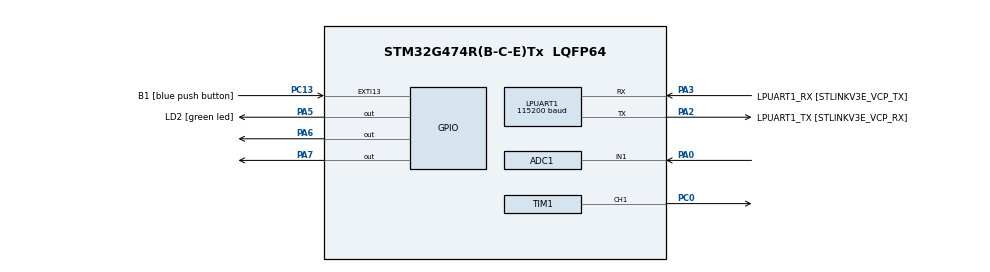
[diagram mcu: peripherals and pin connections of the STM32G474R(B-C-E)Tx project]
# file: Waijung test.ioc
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ADC1.Channel-0\#ChannelRegularConversion=ADC_CHANNEL_1
ADC1.ContinuousConvMode=ENABLE
ADC1.DMAContinuousRequests=ENABLE
ADC1.NbrOfConversionFlag=1
ADC1.OffsetNumber-0\#ChannelRegularConversion=ADC_OFFSET_NONE
ADC1.Rank-0\#ChannelRegularConversion=1
ADC1.SamplingTime-0\#ChannelRegularConversion=ADC_SAMPLETIME_640CYCLES_5
ADC1.master=1
Dma.ADC1.2.Direction=DMA_PERIPH_TO_MEMORY
Dma.ADC1.2.EventEnable=DISABLE
Dma.ADC1.2.Instance=DMA1_Channel3
Dma.ADC1.2.MemDataAlignment=DMA_MDATAALIGN_HALFWORD
Dma.ADC1.2.MemInc=DMA_MINC_ENABLE
Dma.ADC1.2.Mode=DMA_CIRCULAR
Dma.ADC1.2.PeriphDataAlignment=DMA_PDATAALIGN_HALFWORD
Dma.ADC1.2.PeriphInc=DMA_PINC_DISABLE
Dma.ADC1.2.Polarity=HAL_DMAMUX_REQ_GEN_RISING
Dma.ADC1.2.Priority=DMA_PRIORITY_LOW
Dma.ADC1.2.RequestNumber=1
Dma.ADC1.2.SignalID=NONE
Dma.ADC1.2.SyncEnable=DISABLE
Dma.ADC1.2.SyncPolarity=HAL_DMAMUX_SYNC_NO_EVENT
Dma.ADC1.2.SyncRequestNumber=1
Dma.ADC1.2.SyncSignalID=NONE
Dma.LPUART1_RX.1.Direction=DMA_PERIPH_TO_MEMORY
Dma.LPUART1_RX.1.EventEnable=DISABLE
Dma.LPUART1_RX.1.Instance=DMA1_Channel2
Dma.LPUART1_RX.1.MemDataAlignment=DMA_MDATAALIGN_BYTE
Dma.LPUART1_RX.1.MemInc=DMA_MINC_ENABLE
Dma.LPUART1_RX.1.Mode=DMA_CIRCULAR
Dma.LPUART1_RX.1.PeriphDataAlignment=DMA_PDATAALIGN_BYTE
Dma.LPUART1_RX.1.PeriphInc=DMA_PINC_DISABLE
Dma.LPUART1_RX.1.Polarity=HAL_DMAMUX_REQ_GEN_RISING
Dma.LPUART1_RX.1.Priority=DMA_PRIORITY_LOW
Dma.LPUART1_RX.1.RequestNumber=1
Dma.LPUART1_RX.1.SignalID=NONE
Dma.LPUART1_RX.1.SyncEnable=DISABLE
Dma.LPUART1_RX.1.SyncPolarity=HAL_DMAMUX_SYNC_NO_EVENT
Dma.LPUART1_RX.1.SyncRequestNumber=1
Dma.LPUART1_RX.1.SyncSignalID=NONE
Dma.LPUART1_TX.0.Direction=DMA_MEMORY_TO_PERIPH
Dma.LPUART1_TX.0.EventEnable=DISABLE
Dma.LPUART1_TX.0.Instance=DMA1_Channel1
Dma.LPUART1_TX.0.MemDataAlignment=DMA_MDATAALIGN_BYTE
Dma.LPUART1_TX.0.MemInc=DMA_MINC_ENABLE
Dma.LPUART1_TX.0.Mode=DMA_NORMAL
Dma.LPUART1_TX.0.PeriphDataAlignment=DMA_PDATAALIGN_BYTE
Dma.LPUART1_TX.0.PeriphInc=DMA_PINC_DISABLE
Dma.LPUART1_TX.0.Polarity=HAL_DMAMUX_REQ_GEN_RISING
Dma.LPUART1_TX.0.Priority=DMA_PRIORITY_LOW
Dma.LPUART1_TX.0.RequestNumber=1
Dma.LPUART1_TX.0.SignalID=NONE
Dma.LPUART1_TX.0.SyncEnable=DISABLE
Dma.LPUART1_TX.0.SyncPolarity=HAL_DMAMUX_SYNC_NO_EVENT
Dma.LPUART1_TX.0.SyncRequestNumber=1
Dma.LPUART1_TX.0.SyncSignalID=NONE
Dma.Request0=LPUART1_TX
Dma.Request1=LPUART1_RX
Dma.Request2=ADC1
LPUART1.BaudRate=115200
LPUART1.WordLength=UART_WORDLENGTH_8B
Mcu.Family=STM32G4
Mcu.Name=STM32G474R(B-C-E)Tx
Mcu.Package=LQFP64
NVIC.DMA1_Channel1_IRQn=true\:0\:0\:false\:false\:true\:false\:true\:true
NVIC.DMA1_Channel2_IRQn=true\:0\:0\:false\:false\:true\:false\:true\:true
NVIC.DMA1_Channel3_IRQn=true\:0\:0\:false\:false\:true\:false\:true\:true
NVIC.EXTI15_10_IRQn=true\:0\:0\:false\:false\:true\:true\:true\:true
NVIC.LPUART1_IRQn=true\:0\:0\:false\:false\:true\:true\:true\:true
NVIC.PriorityGroup=NVIC_PRIORITYGROUP_4
NVIC.TIM5_IRQn=true\:0\:0\:false\:false\:true\:true\:true\:true
PA0.Mode=IN1-Single-Ended
PA0.Signal=ADC1_IN1
PA13.GPIO_Label=T_SWDIO
PA13.Mode=Serial_Wire
PA13.Signal=SYS_JTMS-SWDIO
PA14.GPIO_Label=T_SWCLK
PA14.Mode=Serial_Wire
PA14.Signal=SYS_JTCK-SWCLK
PA2.GPIO_Label=LPUART1_TX [STLINKV3E_VCP_RX]
PA2.Mode=Asynchronous
PA2.Signal=LPUART1_TX
PA3.GPIO_Label=LPUART1_RX [STLINKV3E_VCP_TX]
PA3.Mode=Asynchronous
PA3.Signal=LPUART1_RX
PA5.GPIO_Label=LD2 [green led]
PA5.Signal=GPIO_Output
PA6.Signal=GPIO_Output
PA7.Signal=GPIO_Output
PB3.GPIO_Label=T_SWO
PB3.Signal=SYS_JTDO-SWO
PC0.Signal=S_TIM1_CH1
PC13.GPIO_Label=B1 [blue push button]
PC13.Signal=GPXTI13
PC14-OSC32_IN.Mode=LSE-External-Oscillator
PC14-OSC32_IN.Signal=RCC_OSC32_IN
PC15-OSC32_OUT.Mode=LSE-External-Oscillator
PC15-OSC32_OUT.Signal=RCC_OSC32_OUT
PF0-OSC_IN.Mode=HSE-External-Oscillator
PF0-OSC_IN.Signal=RCC_OSC_IN
PF1-OSC_OUT.Mode=HSE-External-Oscillator
PF1-OSC_OUT.Signal=RCC_OSC_OUT
ProjectManager.HeapSize=0x200
ProjectManager.StackSize=0x400
ProjectManager.TargetToolchain=STM32CubeIDE
RCC.ADC12Freq_Value=170000000
RCC.ADC345Freq_Value=170000000
RCC.AHBFreq_Value=170000000
RCC.APB1Freq_Value=170000000
RCC.APB1TimFreq_Value=170000000
RCC.APB2Freq_Value=170000000
RCC.APB2TimFreq_Value=170000000
RCC.CortexFreq_Value=170000000
RCC.EXTERNAL_CLOCK_VALUE=12288000
RCC.HCLKFreq_Value=170000000
RCC.HSE_VALUE=24000000
RCC.HSI48_VALUE=48000000
RCC.HSI_VALUE=16000000
RCC.PLLM=RCC_PLLM_DIV4
RCC.PLLN=85
RCC.RTCClockSelection=RCC_RTCCLKSOURCE_LSE
RCC.SYSCLKFreq_VALUE=170000000
RCC.SYSCLKSource=RCC_SYSCLKSOURCE_PLLCLK
RCC.USBFreq_Value=170000000
RCC.VCOOutputFreq_Value=340000000
SH.S_TIM1_CH1.0=TIM1_CH1,PWM Generation1 CH1
TIM1.Channel-PWM\ Generation1\ CH1=TIM_CHANNEL_1
TIM1.PeriodNoDither=1000
TIM1.Prescaler=170-1
TIM5.Prescaler=170-1
VP_SYS_VS_DBSignals.Mode=DisableDeadBatterySignals
VP_TIM1_VS_ClockSourceINT.Mode=Internal
VP_TIM3_VS_ClockSourceINT.Mode=Internal
VP_TIM5_VS_ClockSourceINT.Mode=Internal
board=NUCLEO-G474RE

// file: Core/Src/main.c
/* USER CODE BEGIN Header */
/**
 ******************************************************************************
 * @file           : main.c
 * @brief          : Main program body
 ******************************************************************************
 * @attention
 *
 * Copyright (c) 2024 STMicroelectronics.
 * All rights reserved.
 *
 * This software is licensed under terms that can be found in the LICENSE file
 * in the root directory of this software component.
 * If no LICENSE file comes with this software, it is provided AS-IS.
 *
 ******************************************************************************
 */
/* USER CODE END Header */
#include "main.h"

ADC_HandleTypeDef hadc1;
DMA_HandleTypeDef hdma_adc1;

UART_HandleTypeDef hlpuart1;
DMA_HandleTypeDef hdma_lpuart1_tx;
DMA_HandleTypeDef hdma_lpuart1_rx;

TIM_HandleTypeDef htim1;
TIM_HandleTypeDef htim3;
TIM_HandleTypeDef htim5;

/* USER CODE BEGIN PV */
uint16_t ADCRead[2] = { 0 };
uint8_t Rx[4] = { 0 };
uint8_t Tx[4] = { 0 };
uint8_t Header = 0x69;
uint8_t Termi = 0x0A;
uint8_t k = 0x01;
uint32_t c = 0;
uint64_t upper = 0;
uint64_t _micros = 0;
uint8_t LSB, MSB;
int16_t ReadRX = 0;
int16_t pwmout = 0;
/* USER CODE END PV */

void SystemClock_Config(void);
static void MX_GPIO_Init(void);
static void MX_DMA_Init(void);
static void MX_LPUART1_UART_Init(void);
static void MX_TIM3_Init(void);
static void MX_TIM5_Init(void);
static void MX_ADC1_Init(void);
static void MX_TIM1_Init(void);
/* USER CODE BEGIN PFP */
uint64_t Micros();

/* USER CODE END PFP */

int main(void) {

	/* MCU Configuration--------------------------------------------------------*/

	/* Reset of all peripherals, Initializes the Flash interface and the Systick. */
	HAL_Init();

	/* Configure the system clock */
	SystemClock_Config();

	/* Initialize all configured peripherals */
	MX_GPIO_Init();
	MX_DMA_Init();
	MX_LPUART1_UART_Init();
	MX_TIM3_Init();
	MX_TIM5_Init();
	MX_ADC1_Init();
	MX_TIM1_Init();
	/* USER CODE BEGIN 2 */
	HAL_TIM_Base_Start(&htim1);
	HAL_TIM_PWM_Start(&htim1, TIM_CHANNEL_1);

	HAL_ADCEx_Calibration_Start(&hadc1, ADC_SINGLE_ENDED);
	HAL_ADC_Start_DMA(&hadc1, ADCRead, 2);

	HAL_UART_Receive_DMA(&hlpuart1, Rx, 4);
	HAL_TIM_Base_Start_IT(&htim5);

	upper = 0;

	/* USER CODE END 2 */

	/* Infinite loop */
	while (1) {

		/* USER CODE BEGIN 3 */
		static uint64_t timestamp = 0;
		int64_t currentTime = Micros();
		if (currentTime > timestamp) {
			timestamp = currentTime + 5000; //us
			LSB = ADCRead[0] & 0x00FF;
			MSB = ADCRead[0] >> 8;
			Tx[0] = Header;
			Tx[1] = LSB;
			Tx[2] = MSB;
			Tx[3] = Termi;

			HAL_UART_Transmit_DMA(&hlpuart1, Tx, 4);

			ReadRX = (Rx[2] << 8) | Rx[1];
			pwmout = abs(ReadRX) * 1000 / 4095;
		__HAL_TIM_SET_COMPARE(&htim1,TIM_CHANNEL_1,pwmout);
		if(ReadRX > 0) {
			HAL_GPIO_WritePin(GPIOA, GPIO_PIN_6, GPIO_PIN_SET);
			HAL_GPIO_WritePin(GPIOA, GPIO_PIN_7, GPIO_PIN_RESET);
		} else {
			HAL_GPIO_WritePin(GPIOA, GPIO_PIN_6, GPIO_PIN_RESET);
			HAL_GPIO_WritePin(GPIOA, GPIO_PIN_7, GPIO_PIN_SET);
		}

	}

}
/* USER CODE END 3 */
}

void SystemClock_Config(void) {
RCC_OscInitTypeDef RCC_OscInitStruct = { 0 };
RCC_ClkInitTypeDef RCC_ClkInitStruct = { 0 };

/** Configure the main internal regulator output voltage
 */
HAL_PWREx_ControlVoltageScaling(PWR_REGULATOR_VOLTAGE_SCALE1_BOOST);

/** Initializes the RCC Oscillators according to the specified parameters
 * in the RCC_OscInitTypeDef structure.
 */
RCC_OscInitStruct.OscillatorType = RCC_OSCILLATORTYPE_HSI;
RCC_OscInitStruct.HSIState = RCC_HSI_ON;
RCC_OscInitStruct.HSICalibrationValue = RCC_HSICALIBRATION_DEFAULT;
RCC_OscInitStruct.PLL.PLLState = RCC_PLL_ON;
RCC_OscInitStruct.PLL.PLLSource = RCC_PLLSOURCE_HSI;
RCC_OscInitStruct.PLL.PLLM = RCC_PLLM_DIV4;
RCC_OscInitStruct.PLL.PLLN = 85;
RCC_OscInitStruct.PLL.PLLP = RCC_PLLP_DIV2;
RCC_OscInitStruct.PLL.PLLQ = RCC_PLLQ_DIV2;
RCC_OscInitStruct.PLL.PLLR = RCC_PLLR_DIV2;
if (HAL_RCC_OscConfig(&RCC_OscInitStruct) != HAL_OK) {
	Error_Handler();
}

/** Initializes the CPU, AHB and APB buses clocks
 */
RCC_ClkInitStruct.ClockType = RCC_CLOCKTYPE_HCLK | RCC_CLOCKTYPE_SYSCLK
		| RCC_CLOCKTYPE_PCLK1 | RCC_CLOCKTYPE_PCLK2;
RCC_ClkInitStruct.SYSCLKSource = RCC_SYSCLKSOURCE_PLLCLK;
RCC_ClkInitStruct.AHBCLKDivider = RCC_SYSCLK_DIV1;
RCC_ClkInitStruct.APB1CLKDivider = RCC_HCLK_DIV1;
RCC_ClkInitStruct.APB2CLKDivider = RCC_HCLK_DIV1;

if (HAL_RCC_ClockConfig(&RCC_ClkInitStruct, FLASH_LATENCY_4) != HAL_OK) {
	Error_Handler();
}
}

static void MX_ADC1_Init(void) {

ADC_MultiModeTypeDef multimode = { 0 };
ADC_ChannelConfTypeDef sConfig = { 0 };

/** Common config
 */
hadc1.Instance = ADC1;
hadc1.Init.ClockPrescaler = ADC_CLOCK_SYNC_PCLK_DIV4;
hadc1.Init.Resolution = ADC_RESOLUTION_12B;
hadc1.Init.DataAlign = ADC_DATAALIGN_RIGHT;
hadc1.Init.GainCompensation = 0;
hadc1.Init.ScanConvMode = ADC_SCAN_DISABLE;
hadc1.Init.EOCSelection = ADC_EOC_SINGLE_CONV;
hadc1.Init.LowPowerAutoWait = DISABLE;
hadc1.Init.ContinuousConvMode = ENABLE;
hadc1.Init.NbrOfConversion = 1;
hadc1.Init.DiscontinuousConvMode = DISABLE;
hadc1.Init.ExternalTrigConv = ADC_SOFTWARE_START;
hadc1.Init.ExternalTrigConvEdge = ADC_EXTERNALTRIGCONVEDGE_NONE;
hadc1.Init.DMAContinuousRequests = ENABLE;
hadc1.Init.Overrun = ADC_OVR_DATA_PRESERVED;
hadc1.Init.OversamplingMode = DISABLE;
if (HAL_ADC_Init(&hadc1) != HAL_OK) {
	Error_Handler();
}

/** Configure the ADC multi-mode
 */
multimode.Mode = ADC_MODE_INDEPENDENT;
if (HAL_ADCEx_MultiModeConfigChannel(&hadc1, &multimode) != HAL_OK) {
	Error_Handler();
}

/** Configure Regular Channel
 */
sConfig.Channel = ADC_CHANNEL_1;
sConfig.Rank = ADC_REGULAR_RANK_1;
sConfig.SamplingTime = ADC_SAMPLETIME_640CYCLES_5;
sConfig.SingleDiff = ADC_SINGLE_ENDED;
sConfig.OffsetNumber = ADC_OFFSET_NONE;
sConfig.Offset = 0;
if (HAL_ADC_ConfigChannel(&hadc1, &sConfig) != HAL_OK) {
	Error_Handler();
}

}

static void MX_LPUART1_UART_Init(void) {

hlpuart1.Instance = LPUART1;
hlpuart1.Init.BaudRate = 115200;
hlpuart1.Init.WordLength = UART_WORDLENGTH_8B;
hlpuart1.Init.StopBits = UART_STOPBITS_1;
hlpuart1.Init.Parity = UART_PARITY_NONE;
hlpuart1.Init.Mode = UART_MODE_TX_RX;
hlpuart1.Init.HwFlowCtl = UART_HWCONTROL_NONE;
hlpuart1.Init.OneBitSampling = UART_ONE_BIT_SAMPLE_DISABLE;
hlpuart1.Init.ClockPrescaler = UART_PRESCALER_DIV1;
hlpuart1.AdvancedInit.AdvFeatureInit = UART_ADVFEATURE_NO_INIT;
if (HAL_UART_Init(&hlpuart1) != HAL_OK) {
	Error_Handler();
}
if (HAL_UARTEx_SetTxFifoThreshold(&hlpuart1, UART_TXFIFO_THRESHOLD_1_8)
		!= HAL_OK) {
	Error_Handler();
}
if (HAL_UARTEx_SetRxFifoThreshold(&hlpuart1, UART_RXFIFO_THRESHOLD_1_8)
		!= HAL_OK) {
	Error_Handler();
}
if (HAL_UARTEx_DisableFifoMode(&hlpuart1) != HAL_OK) {
	Error_Handler();
}

}

static void MX_TIM1_Init(void) {

TIM_ClockConfigTypeDef sClockSourceConfig = { 0 };
TIM_MasterConfigTypeDef sMasterConfig = { 0 };
TIM_OC_InitTypeDef sConfigOC = { 0 };
TIM_BreakDeadTimeConfigTypeDef sBreakDeadTimeConfig = { 0 };

htim1.Instance = TIM1;
htim1.Init.Prescaler = 170 - 1;
htim1.Init.CounterMode = TIM_COUNTERMODE_UP;
htim1.Init.Period = 1000;
htim1.Init.ClockDivision = TIM_CLOCKDIVISION_DIV1;
htim1.Init.RepetitionCounter = 0;
htim1.Init.AutoReloadPreload = TIM_AUTORELOAD_PRELOAD_DISABLE;
if (HAL_TIM_Base_Init(&htim1) != HAL_OK) {
	Error_Handler();
}
sClockSourceConfig.ClockSource = TIM_CLOCKSOURCE_INTERNAL;
if (HAL_TIM_ConfigClockSource(&htim1, &sClockSourceConfig) != HAL_OK) {
	Error_Handler();
}
if (HAL_TIM_PWM_Init(&htim1) != HAL_OK) {
	Error_Handler();
}
sMasterConfig.MasterOutputTrigger = TIM_TRGO_RESET;
sMasterConfig.MasterOutputTrigger2 = TIM_TRGO2_RESET;
sMasterConfig.MasterSlaveMode = TIM_MASTERSLAVEMODE_DISABLE;
if (HAL_TIMEx_MasterConfigSynchronization(&htim1, &sMasterConfig) != HAL_OK) {
	Error_Handler();
}
sConfigOC.OCMode = TIM_OCMODE_PWM1;
sConfigOC.Pulse = 0;
sConfigOC.OCPolarity = TIM_OCPOLARITY_HIGH;
sConfigOC.OCNPolarity = TIM_OCNPOLARITY_HIGH;
sConfigOC.OCFastMode = TIM_OCFAST_DISABLE;
sConfigOC.OCIdleState = TIM_OCIDLESTATE_RESET;
sConfigOC.OCNIdleState = TIM_OCNIDLESTATE_RESET;
if (HAL_TIM_PWM_ConfigChannel(&htim1, &sConfigOC, TIM_CHANNEL_1) != HAL_OK) {
	Error_Handler();
}
sBreakDeadTimeConfig.OffStateRunMode = TIM_OSSR_DISABLE;
sBreakDeadTimeConfig.OffStateIDLEMode = TIM_OSSI_DISABLE;
sBreakDeadTimeConfig.LockLevel = TIM_LOCKLEVEL_OFF;
sBreakDeadTimeConfig.DeadTime = 0;
sBreakDeadTimeConfig.BreakState = TIM_BREAK_DISABLE;
sBreakDeadTimeConfig.BreakPolarity = TIM_BREAKPOLARITY_HIGH;
sBreakDeadTimeConfig.BreakFilter = 0;
sBreakDeadTimeConfig.BreakAFMode = TIM_BREAK_AFMODE_INPUT;
sBreakDeadTimeConfig.Break2State = TIM_BREAK2_DISABLE;
sBreakDeadTimeConfig.Break2Polarity = TIM_BREAK2POLARITY_HIGH;
sBreakDeadTimeConfig.Break2Filter = 0;
sBreakDeadTimeConfig.Break2AFMode = TIM_BREAK_AFMODE_INPUT;
sBreakDeadTimeConfig.AutomaticOutput = TIM_AUTOMATICOUTPUT_DISABLE;
if (HAL_TIMEx_ConfigBreakDeadTime(&htim1, &sBreakDeadTimeConfig) != HAL_OK) {
	Error_Handler();
}
HAL_TIM_MspPostInit(&htim1);

}

static void MX_TIM3_Init(void) {

TIM_ClockConfigTypeDef sClockSourceConfig = { 0 };
TIM_MasterConfigTypeDef sMasterConfig = { 0 };

htim3.Instance = TIM3;
htim3.Init.Prescaler = 0;
htim3.Init.CounterMode = TIM_COUNTERMODE_UP;
htim3.Init.Period = 65535;
htim3.Init.ClockDivision = TIM_CLOCKDIVISION_DIV1;
htim3.Init.AutoReloadPreload = TIM_AUTORELOAD_PRELOAD_DISABLE;
if (HAL_TIM_Base_Init(&htim3) != HAL_OK) {
	Error_Handler();
}
sClockSourceConfig.ClockSource = TIM_CLOCKSOURCE_INTERNAL;
if (HAL_TIM_ConfigClockSource(&htim3, &sClockSourceConfig) != HAL_OK) {
	Error_Handler();
}
sMasterConfig.MasterOutputTrigger = TIM_TRGO_RESET;
sMasterConfig.MasterSlaveMode = TIM_MASTERSLAVEMODE_DISABLE;
if (HAL_TIMEx_MasterConfigSynchronization(&htim3, &sMasterConfig) != HAL_OK) {
	Error_Handler();
}

}

static void MX_TIM5_Init(void) {

TIM_ClockConfigTypeDef sClockSourceConfig = { 0 };
TIM_MasterConfigTypeDef sMasterConfig = { 0 };

htim5.Instance = TIM5;
htim5.Init.Prescaler = 170 - 1;
htim5.Init.CounterMode = TIM_COUNTERMODE_UP;
htim5.Init.Period = 4.294967295E9;
htim5.Init.ClockDivision = TIM_CLOCKDIVISION_DIV1;
htim5.Init.AutoReloadPreload = TIM_AUTORELOAD_PRELOAD_DISABLE;
if (HAL_TIM_Base_Init(&htim5) != HAL_OK) {
	Error_Handler();
}
sClockSourceConfig.ClockSource = TIM_CLOCKSOURCE_INTERNAL;
if (HAL_TIM_ConfigClockSource(&htim5, &sClockSourceConfig) != HAL_OK) {
	Error_Handler();
}
sMasterConfig.MasterOutputTrigger = TIM_TRGO_RESET;
sMasterConfig.MasterSlaveMode = TIM_MASTERSLAVEMODE_DISABLE;
if (HAL_TIMEx_MasterConfigSynchronization(&htim5, &sMasterConfig) != HAL_OK) {
	Error_Handler();
}

}

static void MX_DMA_Init(void) {

/* DMA controller clock enable */
__HAL_RCC_DMAMUX1_CLK_ENABLE();
__HAL_RCC_DMA1_CLK_ENABLE();

/* DMA interrupt init */
/* DMA1_Channel1_IRQn interrupt configuration */
HAL_NVIC_SetPriority(DMA1_Channel1_IRQn, 0, 0);
HAL_NVIC_EnableIRQ(DMA1_Channel1_IRQn);
/* DMA1_Channel2_IRQn interrupt configuration */
HAL_NVIC_SetPriority(DMA1_Channel2_IRQn, 0, 0);
HAL_NVIC_EnableIRQ(DMA1_Channel2_IRQn);
/* DMA1_Channel3_IRQn interrupt configuration */
HAL_NVIC_SetPriority(DMA1_Channel3_IRQn, 0, 0);
HAL_NVIC_EnableIRQ(DMA1_Channel3_IRQn);

}

static void MX_GPIO_Init(void) {
GPIO_InitTypeDef GPIO_InitStruct = { 0 };

/* GPIO Ports Clock Enable */
__HAL_RCC_GPIOC_CLK_ENABLE();
__HAL_RCC_GPIOF_CLK_ENABLE();
__HAL_RCC_GPIOA_CLK_ENABLE();
__HAL_RCC_GPIOB_CLK_ENABLE();

/*Configure GPIO pin Output Level */
HAL_GPIO_WritePin(GPIOA, LD2_Pin | GPIO_PIN_6 | GPIO_PIN_7, GPIO_PIN_RESET);

/*Configure GPIO pin : B1_Pin */
GPIO_InitStruct.Pin = B1_Pin;
GPIO_InitStruct.Mode = GPIO_MODE_IT_RISING;
GPIO_InitStruct.Pull = GPIO_NOPULL;
HAL_GPIO_Init(B1_GPIO_Port, &GPIO_InitStruct);

/*Configure GPIO pins : LD2_Pin PA6 PA7 */
GPIO_InitStruct.Pin = LD2_Pin | GPIO_PIN_6 | GPIO_PIN_7;
GPIO_InitStruct.Mode = GPIO_MODE_OUTPUT_PP;
GPIO_InitStruct.Pull = GPIO_NOPULL;
GPIO_InitStruct.Speed = GPIO_SPEED_FREQ_LOW;
HAL_GPIO_Init(GPIOA, &GPIO_InitStruct);

/* EXTI interrupt init*/
HAL_NVIC_SetPriority(EXTI15_10_IRQn, 0, 0);
HAL_NVIC_EnableIRQ(EXTI15_10_IRQn);

}

/* USER CODE BEGIN 4 */
void HAL_TIM_PeriodElapsedCallback(TIM_HandleTypeDef *htim) {
if (htim == &htim5) {
	upper += 1;
	HAL_GPIO_TogglePin(GPIOA, GPIO_PIN_5);
}
}

uint64_t Micros() {
//	static uint32_t timestamp = 0;
uint32_t lower = 0;
uint64_t time = 0;
lower = __HAL_TIM_GET_COUNTER(&htim5);
time = (upper << 32) | lower;
return time;
}
/* USER CODE END 4 */

void Error_Handler(void) {
__disable_irq();
while (1) {
}
}
